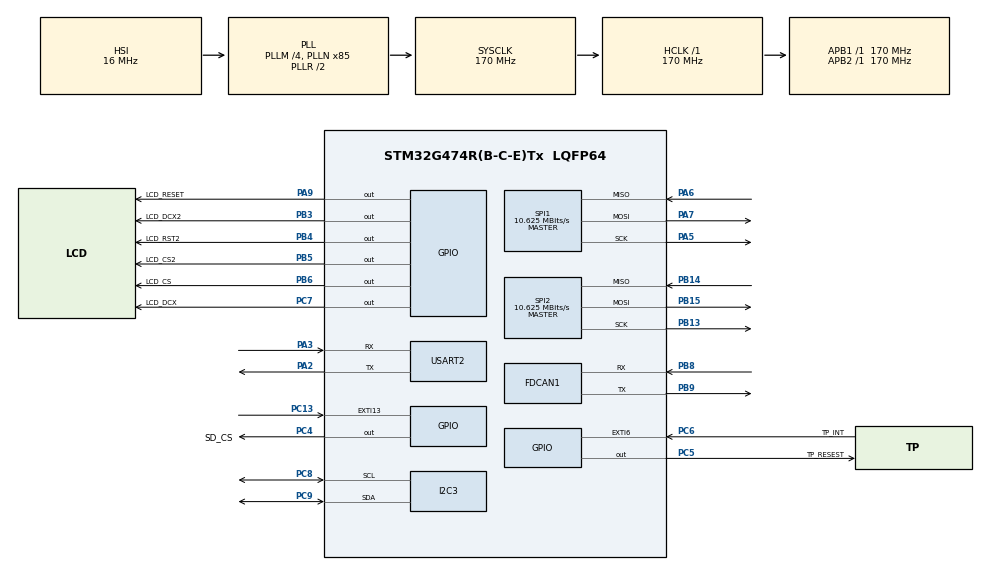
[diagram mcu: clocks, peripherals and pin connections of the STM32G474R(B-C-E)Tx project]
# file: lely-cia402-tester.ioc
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Dma.I2C3_RX.0.Direction=DMA_PERIPH_TO_MEMORY
Dma.I2C3_RX.0.EventEnable=DISABLE
Dma.I2C3_RX.0.Instance=DMA1_Channel1
Dma.I2C3_RX.0.MemDataAlignment=DMA_MDATAALIGN_BYTE
Dma.I2C3_RX.0.MemInc=DMA_MINC_ENABLE
Dma.I2C3_RX.0.Mode=DMA_NORMAL
Dma.I2C3_RX.0.PeriphDataAlignment=DMA_PDATAALIGN_BYTE
Dma.I2C3_RX.0.PeriphInc=DMA_PINC_DISABLE
Dma.I2C3_RX.0.Polarity=HAL_DMAMUX_REQ_GEN_RISING
Dma.I2C3_RX.0.Priority=DMA_PRIORITY_LOW
Dma.I2C3_RX.0.RequestNumber=1
Dma.I2C3_RX.0.SignalID=NONE
Dma.I2C3_RX.0.SyncEnable=DISABLE
Dma.I2C3_RX.0.SyncPolarity=HAL_DMAMUX_SYNC_NO_EVENT
Dma.I2C3_RX.0.SyncRequestNumber=1
Dma.I2C3_RX.0.SyncSignalID=NONE
Dma.I2C3_TX.1.Direction=DMA_MEMORY_TO_PERIPH
Dma.I2C3_TX.1.EventEnable=DISABLE
Dma.I2C3_TX.1.Instance=DMA1_Channel2
Dma.I2C3_TX.1.MemDataAlignment=DMA_MDATAALIGN_BYTE
Dma.I2C3_TX.1.MemInc=DMA_MINC_ENABLE
Dma.I2C3_TX.1.Mode=DMA_NORMAL
Dma.I2C3_TX.1.PeriphDataAlignment=DMA_PDATAALIGN_BYTE
Dma.I2C3_TX.1.PeriphInc=DMA_PINC_DISABLE
Dma.I2C3_TX.1.Polarity=HAL_DMAMUX_REQ_GEN_RISING
Dma.I2C3_TX.1.Priority=DMA_PRIORITY_LOW
Dma.I2C3_TX.1.RequestNumber=1
Dma.I2C3_TX.1.SignalID=NONE
Dma.I2C3_TX.1.SyncEnable=DISABLE
Dma.I2C3_TX.1.SyncPolarity=HAL_DMAMUX_SYNC_NO_EVENT
Dma.I2C3_TX.1.SyncRequestNumber=1
Dma.I2C3_TX.1.SyncSignalID=NONE
Dma.Request0=I2C3_RX
Dma.Request1=I2C3_TX
Dma.Request2=SPI1_TX
Dma.Request3=SPI1_RX
Dma.SPI1_RX.3.Direction=DMA_PERIPH_TO_MEMORY
Dma.SPI1_RX.3.EventEnable=DISABLE
Dma.SPI1_RX.3.Instance=DMA1_Channel4
Dma.SPI1_RX.3.MemDataAlignment=DMA_MDATAALIGN_BYTE
Dma.SPI1_RX.3.MemInc=DMA_MINC_ENABLE
Dma.SPI1_RX.3.Mode=DMA_NORMAL
Dma.SPI1_RX.3.PeriphDataAlignment=DMA_PDATAALIGN_BYTE
Dma.SPI1_RX.3.PeriphInc=DMA_PINC_DISABLE
Dma.SPI1_RX.3.Polarity=HAL_DMAMUX_REQ_GEN_RISING
Dma.SPI1_RX.3.Priority=DMA_PRIORITY_LOW
Dma.SPI1_RX.3.RequestNumber=1
Dma.SPI1_RX.3.SignalID=NONE
Dma.SPI1_RX.3.SyncEnable=DISABLE
Dma.SPI1_RX.3.SyncPolarity=HAL_DMAMUX_SYNC_NO_EVENT
Dma.SPI1_RX.3.SyncRequestNumber=1
Dma.SPI1_RX.3.SyncSignalID=NONE
Dma.SPI1_TX.2.Direction=DMA_MEMORY_TO_PERIPH
Dma.SPI1_TX.2.EventEnable=DISABLE
Dma.SPI1_TX.2.Instance=DMA1_Channel3
Dma.SPI1_TX.2.MemDataAlignment=DMA_MDATAALIGN_BYTE
Dma.SPI1_TX.2.MemInc=DMA_MINC_ENABLE
Dma.SPI1_TX.2.Mode=DMA_NORMAL
Dma.SPI1_TX.2.PeriphDataAlignment=DMA_PDATAALIGN_BYTE
Dma.SPI1_TX.2.PeriphInc=DMA_PINC_DISABLE
Dma.SPI1_TX.2.Polarity=HAL_DMAMUX_REQ_GEN_RISING
Dma.SPI1_TX.2.Priority=DMA_PRIORITY_LOW
Dma.SPI1_TX.2.RequestNumber=1
Dma.SPI1_TX.2.SignalID=NONE
Dma.SPI1_TX.2.SyncEnable=DISABLE
Dma.SPI1_TX.2.SyncPolarity=HAL_DMAMUX_SYNC_NO_EVENT
Dma.SPI1_TX.2.SyncRequestNumber=1
Dma.SPI1_TX.2.SyncSignalID=NONE
FDCAN1.CalculateBaudRateNominal=124999
FDCAN1.CalculateTimeBitNominal=8000
FDCAN1.CalculateTimeQuantumNominal=1000.0000000000001
FDCAN1.NominalPrescaler=170
FDCAN1.NominalTimeSeg1=4
FDCAN1.NominalTimeSeg2=3
FREERTOS.Tasks01=defaultTask,0,128,StartDefaultTask,Default,NULL,Dynamic,NULL,NULL;displayTask,-3,128,DisplayTask,Default,NULL,Dynamic,NULL,NULL;canopenTask,-3,128,CanOpenTask,Default,NULL,Dynamic,NULL,NULL
FREERTOS.configUSE_NEWLIB_REENTRANT=1
I2C3.Timing=0x40B285C2
Mcu.Family=STM32G4
Mcu.Name=STM32G474R(B-C-E)Tx
Mcu.Package=LQFP64
NUCLEO-G474RE.BUTTON=1
NUCLEO-G474RE.LD2=true
NVIC.DMA1_Channel1_IRQn=true\:5\:0\:false\:false\:true\:true\:false\:true\:true
NVIC.DMA1_Channel2_IRQn=true\:5\:0\:false\:false\:true\:true\:false\:true\:true
NVIC.DMA1_Channel3_IRQn=true\:5\:0\:false\:false\:true\:true\:false\:true\:true
NVIC.DMA1_Channel4_IRQn=true\:5\:0\:false\:false\:true\:true\:false\:true\:true
NVIC.EXTI15_10_IRQn=true\:5\:0\:false\:false\:true\:true\:true\:true\:true
NVIC.FDCAN1_IT0_IRQn=true\:5\:0\:false\:false\:true\:true\:true\:true\:true
NVIC.FDCAN1_IT1_IRQn=true\:5\:0\:false\:false\:true\:true\:true\:true\:true
NVIC.I2C3_ER_IRQn=true\:5\:0\:false\:false\:true\:true\:true\:true\:true
NVIC.I2C3_EV_IRQn=true\:5\:0\:false\:false\:true\:true\:true\:true\:true
NVIC.PriorityGroup=NVIC_PRIORITYGROUP_4
NVIC.SPI1_IRQn=true\:5\:0\:false\:false\:true\:true\:true\:true\:true
NVIC.TIM8_UP_IRQn=true\:15\:0\:false\:false\:true\:false\:false\:true\:true
NVIC.TimeBase=TIM8_UP_IRQn
NVIC.TimeBaseIP=TIM8
PA13.GPIO_Label=T_SWDIO
PA13.Signal=SYS_JTMS-SWDIO
PA14.GPIO_Label=T_SWCLK
PA14.Signal=SYS_JTCK-SWCLK
PA2.Mode=Asynchronous
PA2.Signal=USART2_TX
PA3.Mode=Asynchronous
PA3.Signal=USART2_RX
PA5.GPIO_Speed=GPIO_SPEED_FREQ_VERY_HIGH
PA5.Mode=Full_Duplex_Master
PA5.Signal=SPI1_SCK
PA6.GPIO_Speed=GPIO_SPEED_FREQ_VERY_HIGH
PA6.Mode=Full_Duplex_Master
PA6.Signal=SPI1_MISO
PA7.GPIO_Speed=GPIO_SPEED_FREQ_VERY_HIGH
PA7.Mode=Full_Duplex_Master
PA7.Signal=SPI1_MOSI
PA9.GPIO_Label=LCD_RESET
PA9.Signal=GPIO_Output
PB13.Mode=Full_Duplex_Master
PB13.Signal=SPI2_SCK
PB14.Mode=Full_Duplex_Master
PB14.Signal=SPI2_MISO
PB15.Mode=Full_Duplex_Master
PB15.Signal=SPI2_MOSI
PB3.GPIO_Label=LCD_DCX2
PB3.Signal=GPIO_Output
PB4.GPIO_Label=LCD_RST2
PB4.Signal=GPIO_Output
PB5.GPIO_Label=LCD_CS2
PB5.Signal=GPIO_Output
PB6.GPIO_Label=LCD_CS
PB6.Signal=GPIO_Output
PB8-BOOT0.Mode=FDCAN_Activate
PB8-BOOT0.Signal=FDCAN1_RX
PB9.Mode=FDCAN_Activate
PB9.Signal=FDCAN1_TX
PC13.Signal=GPXTI13
PC14-OSC32_IN.GPIO_Label=RCC_OSC32_IN
PC14-OSC32_IN.Signal=RCC_OSC32_IN
PC15-OSC32_OUT.GPIO_Label=RCC_OSC32_OUT
PC15-OSC32_OUT.Signal=RCC_OSC32_OUT
PC4.GPIO_Label=SD_CS
PC4.Signal=GPIO_Output
PC5.GPIO_Label=TP_RESEST
PC5.Signal=GPIO_Output
PC6.GPIO_Label=TP_INT
PC6.Signal=GPXTI6
PC7.GPIO_Label=LCD_DCX
PC7.Signal=GPIO_Output
PC8.Mode=I2C
PC8.Signal=I2C3_SCL
PC9.Mode=I2C
PC9.Signal=I2C3_SDA
PF0-OSC_IN.GPIO_Label=RCC_OSC_IN
PF0-OSC_IN.Signal=RCC_OSC_IN
PF1-OSC_OUT.GPIO_Label=RCC_OSC_OUT
PF1-OSC_OUT.Signal=RCC_OSC_OUT
ProjectManager.HeapSize=0x200
ProjectManager.StackSize=0x400
ProjectManager.TargetToolchain=CMake
RCC.ADC12Freq_Value=170000000
RCC.ADC345Freq_Value=170000000
RCC.AHBFreq_Value=170000000
RCC.APB1Freq_Value=170000000
RCC.APB1TimFreq_Value=170000000
RCC.APB2Freq_Value=170000000
RCC.APB2TimFreq_Value=170000000
RCC.CortexFreq_Value=170000000
RCC.EXTERNAL_CLOCK_VALUE=12288000
RCC.HCLKFreq_Value=170000000
RCC.HSE_VALUE=24000000
RCC.HSI48_VALUE=48000000
RCC.HSI_VALUE=16000000
RCC.LSE_VALUE=32768
RCC.PLLM=RCC_PLLM_DIV4
RCC.PLLN=85
RCC.SYSCLKFreq_VALUE=170000000
RCC.SYSCLKSource=RCC_SYSCLKSOURCE_PLLCLK
RCC.USBFreq_Value=170000000
RCC.VCOOutputFreq_Value=340000000
SPI1.BaudRatePrescaler=SPI_BAUDRATEPRESCALER_16
SPI1.CLKPolarity=SPI_POLARITY_HIGH
SPI1.CalculateBaudRate=10.625 MBits/s
SPI1.DataSize=SPI_DATASIZE_8BIT
SPI1.Direction=SPI_DIRECTION_2LINES
SPI1.Mode=SPI_MODE_MASTER
SPI1.VirtualType=VM_MASTER
SPI2.BaudRatePrescaler=SPI_BAUDRATEPRESCALER_16
SPI2.CalculateBaudRate=10.625 MBits/s
SPI2.DataSize=SPI_DATASIZE_8BIT
SPI2.Direction=SPI_DIRECTION_2LINES
SPI2.Mode=SPI_MODE_MASTER
SPI2.VirtualType=VM_MASTER
USART2.VirtualMode-Asynchronous=VM_ASYNC
VP_FREERTOS_VS_CMSIS_V1.Mode=CMSIS_V1
VP_NUCLEO-G474RE_VS_BSP_COMMON.Mode=COMMON
VP_RTC_VS_RTC_Activate.Mode=RTC_Enabled
VP_RTC_VS_RTC_Calendar.Mode=RTC_Calendar
VP_SYS_VS_DBSignals.Mode=DisableDeadBatterySignals
VP_SYS_VS_tim8.Mode=TIM8
board=NUCLEO-G474RE

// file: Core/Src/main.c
/* USER CODE BEGIN Header */
/**
  ******************************************************************************
  * @file           : main.c
  * @brief          : Main program body
  ******************************************************************************
  * @attention
  *
  * Copyright (c) 2025 STMicroelectronics.
  * All rights reserved.
  *
  * This software is licensed under terms that can be found in the LICENSE file
  * in the root directory of this software component.
  * If no LICENSE file comes with this software, it is provided AS-IS.
  *
  ******************************************************************************
  */
/* USER CODE END Header */
#include "main.h"
#include "cmsis_os.h"

/* USER CODE BEGIN Includes */
#include <stdlib.h>
#include <stdio.h>
#include <lely/co/nmt.h>
#include <lely/co/sdev.h>
#include <lely/co/sdo.h>
#include <lely/co/time.h>
#include <lely/co/co.h>
#include <lely/bsp/can.h>

#include <cia_402/co_callbacks.h>
#include <cia_402/co_init.h>

#include <lcd/st7789.h>
#include <ugui/ugui.h>

/* USER CODE END Includes */

FDCAN_HandleTypeDef hfdcan1;

I2C_HandleTypeDef hi2c3;
DMA_HandleTypeDef hdma_i2c3_rx;
DMA_HandleTypeDef hdma_i2c3_tx;

RTC_HandleTypeDef hrtc;

SPI_HandleTypeDef hspi1;
SPI_HandleTypeDef hspi2;
DMA_HandleTypeDef hdma_spi1_tx;
DMA_HandleTypeDef hdma_spi1_rx;

UART_HandleTypeDef huart2;

osThreadId defaultTaskHandle;
osThreadId displayTaskHandle;
osThreadId canopenTaskHandle;
/* USER CODE BEGIN PV */
uint8_t ubKeyNumber = 0x0;
FDCAN_RxHeaderTypeDef RxHeader;
uint8_t RxData[8];
FDCAN_TxHeaderTypeDef TxHeader;
uint8_t TxData[8]={'F','D','C','A','N',1,2,3};

/* USER CODE END PV */

void SystemClock_Config(void);
static void MX_GPIO_Init(void);
static void MX_DMA_Init(void);
static void MX_RTC_Init(void);
static void MX_SPI2_Init(void);
static void MX_USART2_UART_Init(void);
static void MX_FDCAN1_Init(void);
static void MX_I2C3_Init(void);
static void MX_SPI1_Init(void);
void StartDefaultTask(void const * argument);
void DisplayTask(void const * argument);
void CanOpenTask(void const * argument);

/* USER CODE BEGIN 0 */
struct timespec now = { 0, 0 };
co_dev_t *dev;
co_nmt_t *nmt;
can_net_t *net;
extern const struct co_sdev lpc17xx_sdev;
/* USER CODE END 0 */

int main(void)
{

  /* MCU Configuration--------------------------------------------------------*/

  /* Reset of all peripherals, Initializes the Flash interface and the Systick. */
  HAL_Init();

  /* Configure the system clock */
  SystemClock_Config();

  /* Initialize all configured peripherals */
  MX_GPIO_Init();
  MX_DMA_Init();
  MX_RTC_Init();
  MX_SPI2_Init();
  MX_USART2_UART_Init();
  MX_FDCAN1_Init();
  MX_I2C3_Init();
  MX_SPI1_Init();
  /* USER CODE BEGIN 2 */
  ST7789_Init();
  ST7789_Test();
 //HAL_TIM_Base_Start_IT(&htim7);
  can_init(125);;
if (HAL_FDCAN_ConfigGlobalFilter(&hfdcan1, FDCAN_ACCEPT_IN_RX_FIFO0, FDCAN_REJECT,
                                   FDCAN_FILTER_REMOTE, FDCAN_FILTER_REMOTE)
      != HAL_OK) {
      return -1;
  }

  if (HAL_FDCAN_ActivateNotification(&hfdcan1,
                                     0 | FDCAN_IT_RX_FIFO0_NEW_MESSAGE | FDCAN_IT_RX_FIFO1_NEW_MESSAGE
                                         | FDCAN_IT_TX_COMPLETE | FDCAN_IT_TX_FIFO_EMPTY | FDCAN_IT_BUS_OFF
                                         | FDCAN_IT_ARB_PROTOCOL_ERROR | FDCAN_IT_DATA_PROTOCOL_ERROR
                                         | FDCAN_IT_ERROR_PASSIVE | FDCAN_IT_ERROR_WARNING,
                                     0xFFFFFFFF)
      != HAL_OK) {
      return -1;
  }

  /* Put CAN module in normal mode */
    if (HAL_FDCAN_Start(&hfdcan1) != HAL_OK)
    {
      return -1;
    }

  net = co_init_net();
  dev = co_create_dev(lpc17xx_sdev);
  nmt = co_create_nmt(dev,net);

  ST7789_Init();
	ST7789_Fill_Color(WHITE);
  ST7789_Fill(0,0,239, 40, LGRAY);
	ST7789_WriteString(10, 20, "CIA402 Tester", Font_11x18, BLACK, LGRAY);
  ST7789_WriteString(10, 40, "Status Word", Font_11x18, BLACK, WHITE);
	ST7789_WriteString(10, 60, "Control Word", Font_11x18, BLACK, WHITE);
	ST7789_WriteString(10, 80, "Target Position", Font_11x18, BLACK, WHITE);
	ST7789_WriteString(10, 100, "Actual Position", Font_11x18, BLACK, WHITE);
	ST7789_WriteString(10, 280, "System Op-Mode", Font_11x18, BLACK, WHITE);
	ST7789_WriteString(10, 300, "System Error", Font_11x18, BLACK, WHITE);

  //ST7789_Test();
  /* USER CODE END 2 */

  /* Create the thread(s) */
  /* definition and creation of defaultTask */
  osThreadDef(defaultTask, StartDefaultTask, osPriorityNormal, 0, 128);
  defaultTaskHandle = osThreadCreate(osThread(defaultTask), NULL);

  /* definition and creation of displayTask */
  osThreadDef(displayTask, DisplayTask, osPriorityIdle, 0, 128);
  displayTaskHandle = osThreadCreate(osThread(displayTask), NULL);

  /* definition and creation of canopenTask */
  osThreadDef(canopenTask, CanOpenTask, osPriorityIdle, 0, 128);
  canopenTaskHandle = osThreadCreate(osThread(canopenTask), NULL);

  /* Initialize led */
  BSP_LED_Init(LED_GREEN);

  /* Initialize USER push-button, will be used to trigger an interrupt each time it's pressed.*/
  BSP_PB_Init(BUTTON_USER, BUTTON_MODE_EXTI);

  /* Start scheduler */
  osKernelStart();

  /* We should never get here as control is now taken by the scheduler */

  /* Infinite loop */
  /* USER CODE BEGIN WHILE */
  while (1)
  {
    HAL_Delay(1000);
	// Update the CAN network clock.
	clock_gettime(1, &now);

	  //struct tm *tm_info;
    //tm_info = localtime(&now.tv_sec);
    RTC_DateTypeDef gDate;
    RTC_TimeTypeDef gTime;
    HAL_RTC_GetTime(&hrtc, &gTime, RTC_FORMAT_BIN);
    HAL_RTC_GetDate(&hrtc, &gDate, RTC_FORMAT_BIN);
  	can_net_set_time(net, &now);

	// Process any received CAN frames.
	struct can_msg msg;
	int n_frames = can_recv(&msg, 1);
		if(n_frames !=0)
		{
		    // Puffer für die formatierte Ausgabe
		    char data_str[256]; // Angenommene Puffergröße, die groß genug ist
		    int offset = 0;

		    // Formatieren der Daten in den String
		    offset += sprintf(data_str + offset, "  ID: 0x%X", (unsigned int)msg.id);
		    offset += sprintf(data_str + offset, "  Length: %d", msg.len);
		    offset += sprintf(data_str + offset, "  Flags: 0x%X\r\n", msg.flags);

		    offset += sprintf(data_str + offset, "  Data: [ ");
		    for (unsigned int i = 0; i < msg.len; ++i) {
		        offset += sprintf(data_str + offset, "%02X ", msg.data[i]); // Ausgabe der Daten im Hex-Format
		    }
		    sprintf(data_str + offset, "]"); // Füge das abschließende Newline hinzu
//			trace("Received frame from %s ",data_str);
			if(can_net_recv(net, &msg) == -1)
			{
//				trace("can net receive -1");
			}
		}

    /* USER CODE END WHILE */

    /* USER CODE BEGIN 3 */
  }
  co_nmt_destroy(nmt);
	co_dev_destroy(dev);
	can_net_destroy(net);
  /* USER CODE END 3 */
}

void SystemClock_Config(void)
{
  RCC_OscInitTypeDef RCC_OscInitStruct = {0};
  RCC_ClkInitTypeDef RCC_ClkInitStruct = {0};

  /** Configure the main internal regulator output voltage
  */
  HAL_PWREx_ControlVoltageScaling(PWR_REGULATOR_VOLTAGE_SCALE1_BOOST);

  /** Initializes the RCC Oscillators according to the specified parameters
  * in the RCC_OscInitTypeDef structure.
  */
  RCC_OscInitStruct.OscillatorType = RCC_OSCILLATORTYPE_HSI|RCC_OSCILLATORTYPE_LSI;
  RCC_OscInitStruct.HSIState = RCC_HSI_ON;
  RCC_OscInitStruct.HSICalibrationValue = RCC_HSICALIBRATION_DEFAULT;
  RCC_OscInitStruct.LSIState = RCC_LSI_ON;
  RCC_OscInitStruct.PLL.PLLState = RCC_PLL_ON;
  RCC_OscInitStruct.PLL.PLLSource = RCC_PLLSOURCE_HSI;
  RCC_OscInitStruct.PLL.PLLM = RCC_PLLM_DIV4;
  RCC_OscInitStruct.PLL.PLLN = 85;
  RCC_OscInitStruct.PLL.PLLP = RCC_PLLP_DIV2;
  RCC_OscInitStruct.PLL.PLLQ = RCC_PLLQ_DIV2;
  RCC_OscInitStruct.PLL.PLLR = RCC_PLLR_DIV2;
  if (HAL_RCC_OscConfig(&RCC_OscInitStruct) != HAL_OK)
  {
    Error_Handler();
  }

  /** Initializes the CPU, AHB and APB buses clocks
  */
  RCC_ClkInitStruct.ClockType = RCC_CLOCKTYPE_HCLK|RCC_CLOCKTYPE_SYSCLK
                              |RCC_CLOCKTYPE_PCLK1|RCC_CLOCKTYPE_PCLK2;
  RCC_ClkInitStruct.SYSCLKSource = RCC_SYSCLKSOURCE_PLLCLK;
  RCC_ClkInitStruct.AHBCLKDivider = RCC_SYSCLK_DIV1;
  RCC_ClkInitStruct.APB1CLKDivider = RCC_HCLK_DIV1;
  RCC_ClkInitStruct.APB2CLKDivider = RCC_HCLK_DIV1;

  if (HAL_RCC_ClockConfig(&RCC_ClkInitStruct, FLASH_LATENCY_4) != HAL_OK)
  {
    Error_Handler();
  }
}

static void MX_FDCAN1_Init(void)
{

  hfdcan1.Instance = FDCAN1;
  hfdcan1.Init.ClockDivider = FDCAN_CLOCK_DIV1;
  hfdcan1.Init.FrameFormat = FDCAN_FRAME_CLASSIC;
  hfdcan1.Init.Mode = FDCAN_MODE_NORMAL;
  hfdcan1.Init.AutoRetransmission = DISABLE;
  hfdcan1.Init.TransmitPause = DISABLE;
  hfdcan1.Init.ProtocolException = DISABLE;
  hfdcan1.Init.NominalPrescaler = 170;
  hfdcan1.Init.NominalSyncJumpWidth = 1;
  hfdcan1.Init.NominalTimeSeg1 = 4;
  hfdcan1.Init.NominalTimeSeg2 = 3;
  hfdcan1.Init.DataPrescaler = 1;
  hfdcan1.Init.DataSyncJumpWidth = 1;
  hfdcan1.Init.DataTimeSeg1 = 1;
  hfdcan1.Init.DataTimeSeg2 = 1;
  hfdcan1.Init.StdFiltersNbr = 0;
  hfdcan1.Init.ExtFiltersNbr = 0;
  hfdcan1.Init.TxFifoQueueMode = FDCAN_TX_FIFO_OPERATION;
  if (HAL_FDCAN_Init(&hfdcan1) != HAL_OK)
  {
    Error_Handler();
  }

}

static void MX_I2C3_Init(void)
{

  hi2c3.Instance = I2C3;
  hi2c3.Init.Timing = 0x40B285C2;
  hi2c3.Init.OwnAddress1 = 0;
  hi2c3.Init.AddressingMode = I2C_ADDRESSINGMODE_7BIT;
  hi2c3.Init.DualAddressMode = I2C_DUALADDRESS_DISABLE;
  hi2c3.Init.OwnAddress2 = 0;
  hi2c3.Init.OwnAddress2Masks = I2C_OA2_NOMASK;
  hi2c3.Init.GeneralCallMode = I2C_GENERALCALL_DISABLE;
  hi2c3.Init.NoStretchMode = I2C_NOSTRETCH_DISABLE;
  if (HAL_I2C_Init(&hi2c3) != HAL_OK)
  {
    Error_Handler();
  }

  /** Configure Analogue filter
  */
  if (HAL_I2CEx_ConfigAnalogFilter(&hi2c3, I2C_ANALOGFILTER_ENABLE) != HAL_OK)
  {
    Error_Handler();
  }

  /** Configure Digital filter
  */
  if (HAL_I2CEx_ConfigDigitalFilter(&hi2c3, 0) != HAL_OK)
  {
    Error_Handler();
  }

}

static void MX_RTC_Init(void)
{

  RTC_TimeTypeDef sTime = {0};
  RTC_DateTypeDef sDate = {0};

  /** Initialize RTC Only
  */
  hrtc.Instance = RTC;
  hrtc.Init.HourFormat = RTC_HOURFORMAT_24;
  hrtc.Init.AsynchPrediv = 127;
  hrtc.Init.SynchPrediv = 255;
  hrtc.Init.OutPut = RTC_OUTPUT_DISABLE;
  hrtc.Init.OutPutRemap = RTC_OUTPUT_REMAP_NONE;
  hrtc.Init.OutPutPolarity = RTC_OUTPUT_POLARITY_HIGH;
  hrtc.Init.OutPutType = RTC_OUTPUT_TYPE_OPENDRAIN;
  hrtc.Init.OutPutPullUp = RTC_OUTPUT_PULLUP_NONE;
  if (HAL_RTC_Init(&hrtc) != HAL_OK)
  {
    Error_Handler();
  }

  /** Initialize RTC and set the Time and Date
  */
  sTime.Hours = 0x0;
  sTime.Minutes = 0x0;
  sTime.Seconds = 0x0;
  sTime.SubSeconds = 0x0;
  sTime.DayLightSaving = RTC_DAYLIGHTSAVING_NONE;
  sTime.StoreOperation = RTC_STOREOPERATION_RESET;
  if (HAL_RTC_SetTime(&hrtc, &sTime, RTC_FORMAT_BCD) != HAL_OK)
  {
    Error_Handler();
  }
  sDate.WeekDay = RTC_WEEKDAY_MONDAY;
  sDate.Month = RTC_MONTH_JANUARY;
  sDate.Date = 0x1;
  sDate.Year = 0x0;

  if (HAL_RTC_SetDate(&hrtc, &sDate, RTC_FORMAT_BCD) != HAL_OK)
  {
    Error_Handler();
  }

}

static void MX_SPI1_Init(void)
{

  /* SPI1 parameter configuration*/
  hspi1.Instance = SPI1;
  hspi1.Init.Mode = SPI_MODE_MASTER;
  hspi1.Init.Direction = SPI_DIRECTION_2LINES;
  hspi1.Init.DataSize = SPI_DATASIZE_8BIT;
  hspi1.Init.CLKPolarity = SPI_POLARITY_HIGH;
  hspi1.Init.CLKPhase = SPI_PHASE_1EDGE;
  hspi1.Init.NSS = SPI_NSS_SOFT;
  hspi1.Init.BaudRatePrescaler = SPI_BAUDRATEPRESCALER_16;
  hspi1.Init.FirstBit = SPI_FIRSTBIT_MSB;
  hspi1.Init.TIMode = SPI_TIMODE_DISABLE;
  hspi1.Init.CRCCalculation = SPI_CRCCALCULATION_DISABLE;
  hspi1.Init.CRCPolynomial = 7;
  hspi1.Init.CRCLength = SPI_CRC_LENGTH_DATASIZE;
  hspi1.Init.NSSPMode = SPI_NSS_PULSE_ENABLE;
  if (HAL_SPI_Init(&hspi1) != HAL_OK)
  {
    Error_Handler();
  }

}

static void MX_SPI2_Init(void)
{

  /* SPI2 parameter configuration*/
  hspi2.Instance = SPI2;
  hspi2.Init.Mode = SPI_MODE_MASTER;
  hspi2.Init.Direction = SPI_DIRECTION_2LINES;
  hspi2.Init.DataSize = SPI_DATASIZE_8BIT;
  hspi2.Init.CLKPolarity = SPI_POLARITY_LOW;
  hspi2.Init.CLKPhase = SPI_PHASE_1EDGE;
  hspi2.Init.NSS = SPI_NSS_SOFT;
  hspi2.Init.BaudRatePrescaler = SPI_BAUDRATEPRESCALER_16;
  hspi2.Init.FirstBit = SPI_FIRSTBIT_MSB;
  hspi2.Init.TIMode = SPI_TIMODE_DISABLE;
  hspi2.Init.CRCCalculation = SPI_CRCCALCULATION_DISABLE;
  hspi2.Init.CRCPolynomial = 7;
  hspi2.Init.CRCLength = SPI_CRC_LENGTH_DATASIZE;
  hspi2.Init.NSSPMode = SPI_NSS_PULSE_ENABLE;
  if (HAL_SPI_Init(&hspi2) != HAL_OK)
  {
    Error_Handler();
  }

}

static void MX_USART2_UART_Init(void)
{

  huart2.Instance = USART2;
  huart2.Init.BaudRate = 115200;
  huart2.Init.WordLength = UART_WORDLENGTH_8B;
  huart2.Init.StopBits = UART_STOPBITS_1;
  huart2.Init.Parity = UART_PARITY_NONE;
  huart2.Init.Mode = UART_MODE_TX_RX;
  huart2.Init.HwFlowCtl = UART_HWCONTROL_NONE;
  huart2.Init.OverSampling = UART_OVERSAMPLING_16;
  huart2.Init.OneBitSampling = UART_ONE_BIT_SAMPLE_DISABLE;
  huart2.Init.ClockPrescaler = UART_PRESCALER_DIV1;
  huart2.AdvancedInit.AdvFeatureInit = UART_ADVFEATURE_NO_INIT;
  if (HAL_UART_Init(&huart2) != HAL_OK)
  {
    Error_Handler();
  }
  if (HAL_UARTEx_SetTxFifoThreshold(&huart2, UART_TXFIFO_THRESHOLD_1_8) != HAL_OK)
  {
    Error_Handler();
  }
  if (HAL_UARTEx_SetRxFifoThreshold(&huart2, UART_RXFIFO_THRESHOLD_1_8) != HAL_OK)
  {
    Error_Handler();
  }
  if (HAL_UARTEx_DisableFifoMode(&huart2) != HAL_OK)
  {
    Error_Handler();
  }

}

static void MX_DMA_Init(void)
{

  /* DMA controller clock enable */
  __HAL_RCC_DMAMUX1_CLK_ENABLE();
  __HAL_RCC_DMA1_CLK_ENABLE();

  /* DMA interrupt init */
  /* DMA1_Channel1_IRQn interrupt configuration */
  HAL_NVIC_SetPriority(DMA1_Channel1_IRQn, 5, 0);
  HAL_NVIC_EnableIRQ(DMA1_Channel1_IRQn);
  /* DMA1_Channel2_IRQn interrupt configuration */
  HAL_NVIC_SetPriority(DMA1_Channel2_IRQn, 5, 0);
  HAL_NVIC_EnableIRQ(DMA1_Channel2_IRQn);
  /* DMA1_Channel3_IRQn interrupt configuration */
  HAL_NVIC_SetPriority(DMA1_Channel3_IRQn, 5, 0);
  HAL_NVIC_EnableIRQ(DMA1_Channel3_IRQn);
  /* DMA1_Channel4_IRQn interrupt configuration */
  HAL_NVIC_SetPriority(DMA1_Channel4_IRQn, 5, 0);
  HAL_NVIC_EnableIRQ(DMA1_Channel4_IRQn);

}

static void MX_GPIO_Init(void)
{
  GPIO_InitTypeDef GPIO_InitStruct = {0};

  /* GPIO Ports Clock Enable */
  __HAL_RCC_GPIOC_CLK_ENABLE();
  __HAL_RCC_GPIOF_CLK_ENABLE();
  __HAL_RCC_GPIOA_CLK_ENABLE();
  __HAL_RCC_GPIOB_CLK_ENABLE();

  /*Configure GPIO pin Output Level */
  HAL_GPIO_WritePin(GPIOC, SD_CS_Pin|TP_RESEST_Pin|LCD_DCX_Pin, GPIO_PIN_RESET);

  /*Configure GPIO pin Output Level */
  HAL_GPIO_WritePin(LCD_RESET_GPIO_Port, LCD_RESET_Pin, GPIO_PIN_RESET);

  /*Configure GPIO pin Output Level */
  HAL_GPIO_WritePin(GPIOB, LCD_DCX2_Pin|LCD_RST2_Pin|LCD_CS2_Pin|LCD_CS_Pin, GPIO_PIN_RESET);

  /*Configure GPIO pins : SD_CS_Pin TP_RESEST_Pin LCD_DCX_Pin */
  GPIO_InitStruct.Pin = SD_CS_Pin|TP_RESEST_Pin|LCD_DCX_Pin;
  GPIO_InitStruct.Mode = GPIO_MODE_OUTPUT_PP;
  GPIO_InitStruct.Pull = GPIO_NOPULL;
  GPIO_InitStruct.Speed = GPIO_SPEED_FREQ_LOW;
  HAL_GPIO_Init(GPIOC, &GPIO_InitStruct);

  /*Configure GPIO pin : TP_INT_Pin */
  GPIO_InitStruct.Pin = TP_INT_Pin;
  GPIO_InitStruct.Mode = GPIO_MODE_IT_RISING;
  GPIO_InitStruct.Pull = GPIO_NOPULL;
  HAL_GPIO_Init(TP_INT_GPIO_Port, &GPIO_InitStruct);

  /*Configure GPIO pin : LCD_RESET_Pin */
  GPIO_InitStruct.Pin = LCD_RESET_Pin;
  GPIO_InitStruct.Mode = GPIO_MODE_OUTPUT_PP;
  GPIO_InitStruct.Pull = GPIO_NOPULL;
  GPIO_InitStruct.Speed = GPIO_SPEED_FREQ_LOW;
  HAL_GPIO_Init(LCD_RESET_GPIO_Port, &GPIO_InitStruct);

  /*Configure GPIO pins : LCD_DCX2_Pin LCD_RST2_Pin LCD_CS2_Pin LCD_CS_Pin */
  GPIO_InitStruct.Pin = LCD_DCX2_Pin|LCD_RST2_Pin|LCD_CS2_Pin|LCD_CS_Pin;
  GPIO_InitStruct.Mode = GPIO_MODE_OUTPUT_PP;
  GPIO_InitStruct.Pull = GPIO_NOPULL;
  GPIO_InitStruct.Speed = GPIO_SPEED_FREQ_LOW;
  HAL_GPIO_Init(GPIOB, &GPIO_InitStruct);

}

void StartDefaultTask(void const * argument)
{
  for(;;)
  {
    osDelay(1);
  }
}

void DisplayTask(void const * argument)
{
  for(;;)
  {
    osDelay(1);
  }
}

void CanOpenTask(void const * argument)
{
  for(;;)
  {
    osDelay(1);
  }
}

void HAL_TIM_PeriodElapsedCallback(TIM_HandleTypeDef *htim)
{
  if (htim->Instance == TIM8) {
    HAL_IncTick();
  }
}

void Error_Handler(void)
{
  __disable_irq();
  while (1)
  {
  }
}
